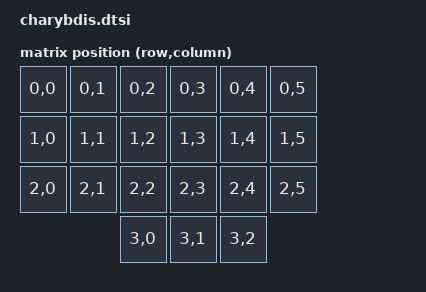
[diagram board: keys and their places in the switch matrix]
#include <dt-bindings/zmk/matrix_transform.h>
#include "charybdis-layouts.dtsi"

/ {
    chosen {
        zmk,kscan = &kscan0;
        zmk,physical-layout = &charybdis_physical_layout;
    };

    default_transform: keymap_transform_0 {
        compatible = "zmk,matrix-transform";
        columns = <6>;
        rows = <4>;

        map = <
        RC(0,0) RC(0,1) RC(0,2) RC(0,3) RC(0,4) RC(0,5)
        RC(1,0) RC(1,1) RC(1,2) RC(1,3) RC(1,4) RC(1,5)
        RC(2,0) RC(2,1) RC(2,2) RC(2,3) RC(2,4) RC(2,5)
                        RC(3,0) RC(3,1) RC(3,2)
        >;
    };
	
    kscan0: kscan {
        wakeup-source;
        diode-direction = "col2row";
    };
};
